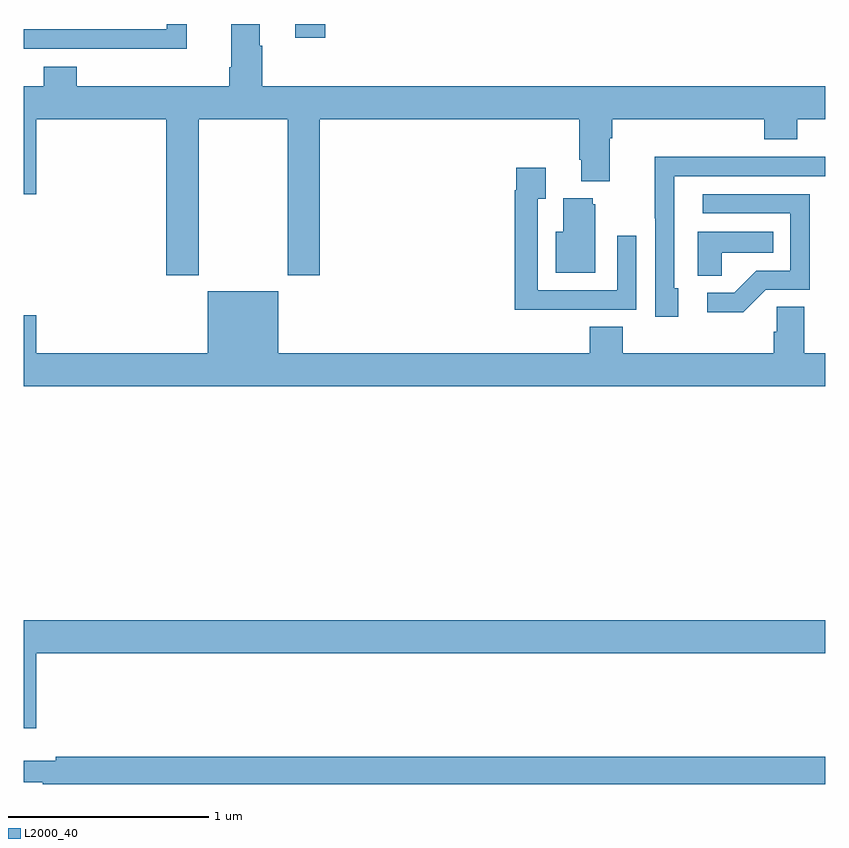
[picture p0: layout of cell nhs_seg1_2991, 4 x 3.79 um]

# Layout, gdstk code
import gdstk
lib = gdstk.Library(unit=1e-6, precision=1e-09)
def R(c, l, rs):  # rectangles x0, y0, x1, y1
    for r in rs: c.add(gdstk.rectangle(r[:2], r[2:], *l))
def P(c, l, *ps):  # polygons
    for p in ps: c.add(gdstk.Polygon(p, *l))
L2000_40 = (2000, 40)

nhs_seg1_2991 = lib.new_cell('nhs_seg1_2991')
R(nhs_seg1_2991, L2000_40, [(274.355,560.13,274.504,560.199)])
P(nhs_seg1_2991, L2000_40, [(273.813,560.199),(273.714,560.199),(273.714,560.172),(273,560.172),(273,560.076),(273.349,560.076),(273.349,560.075),(273.813,560.075)],
  [(273.873,559.724),(274.318,559.724),(274.318,558.945),(274.478,558.945),(274.478,559.724),(275.771,559.724),(275.771,559.522),(275.783,559.522),(275.783,559.415),(275.923,559.415),(275.923,559.628),(275.936,559.628),(275.936,559.724),(276.695,559.724),(276.695,559.625),(276.86,559.625),(276.86,559.724),(277,559.724),(277,559.888),(274.19,559.888),(274.19,560.09),(274.177,560.09),(274.177,560.197),(274.037,560.197),(274.037,559.984),(274.025,559.984),(274.025,559.888),(273.266,559.888),(273.266,559.987),(273.101,559.987),(273.101,559.888),(273,559.888),(273,559.35),(273.064,559.35),(273.064,559.724),(273.713,559.724),(273.713,558.945),(273.873,558.945)],
  [(276.265,558.882),(276.246,558.882),(276.246,559.44),(277,559.44),(277,559.536),(276.611,559.536),(276.611,559.538),(276.148,559.538),(276.148,559.231),(276.15,559.231),(276.15,558.738),(276.265,558.738)],
  [(275.741,558.774),(276.057,558.774),(276.057,559.144),(275.961,559.144),(275.961,558.87),(275.565,558.87),(275.565,559.327),(275.605,559.327),(275.605,559.483),(275.457,559.483),(275.457,559.37),(275.449,559.37),(275.449,558.773),(275.741,558.773)],
  [(276.702,558.873),(276.921,558.873),(276.921,559.35),(276.387,559.35),(276.387,559.254),(276.825,559.254),(276.825,558.969),(276.656,558.969),(276.545,558.858),(276.411,558.858),(276.411,558.761),(276.589,558.761)],
  [(275.851,559.299),(275.84,559.299),(275.84,559.33),(275.693,559.33),(275.693,559.162),(275.654,559.162),(275.654,558.959),(275.851,558.959)],
  [(276.483,559.058),(276.74,559.058),(276.74,559.162),(276.362,559.162),(276.362,558.943),(276.483,558.943)],
  [(277,558.556),(276.895,558.556),(276.895,558.788),(276.756,558.788),(276.756,558.665),(276.743,558.665),(276.743,558.556),(275.99,558.556),(275.99,558.689),(275.825,558.689),(275.825,558.556),(274.27,558.556),(274.27,558.865),(273.92,558.865),(273.92,558.556),(273.064,558.556),(273.064,558.745),(273,558.745),(273,558.392),(277,558.392)],
  [(273.064,557.06),(277,557.06),(277,557.224),(273,557.224),(273,556.686),(273.064,556.686)],
  [(277,556.544),(273.16,556.544),(273.16,556.525),(273,556.525),(273,556.416),(273.095,556.416),(273.095,556.408),(277,556.408)])

lib.write_gds('nhs_seg1_2991.gds')
